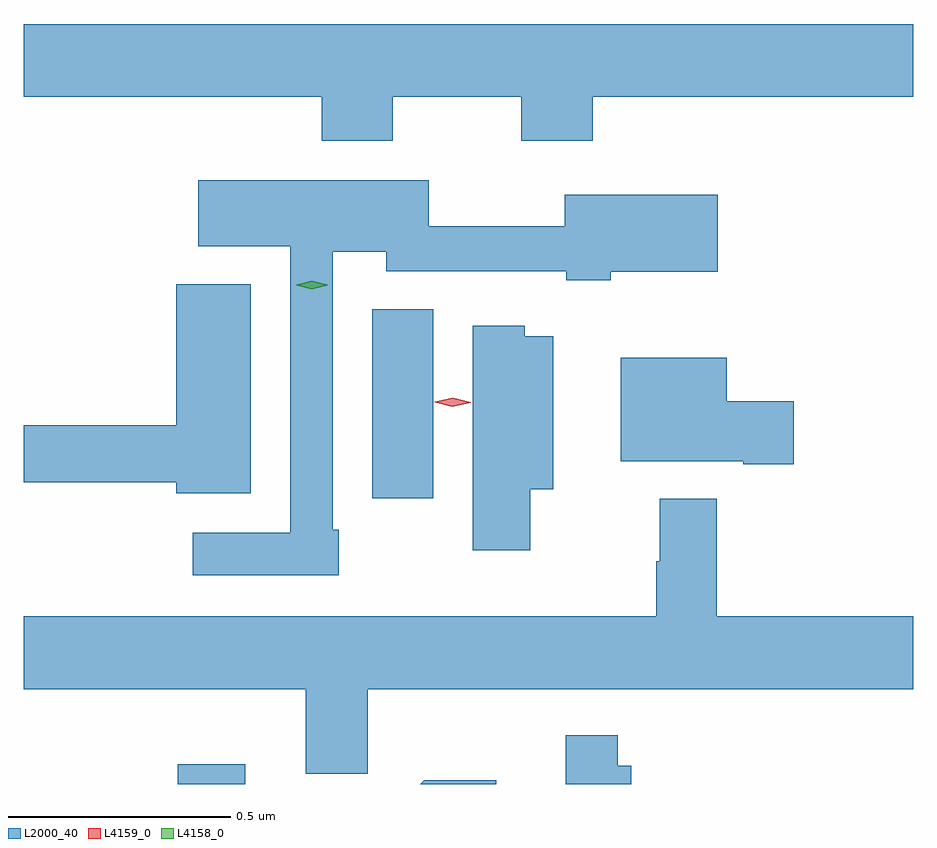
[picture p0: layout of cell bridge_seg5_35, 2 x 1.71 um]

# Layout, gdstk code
import gdstk
lib = gdstk.Library(unit=1e-6, precision=1e-09)
def R(c, l, rs):  # rectangles x0, y0, x1, y1
    for r in rs: c.add(gdstk.rectangle(r[:2], r[2:], *l))
def P(c, l, *ps):  # polygons
    for p in ps: c.add(gdstk.Polygon(p, *l))
L2000_40 = (2000, 40)
L4158_0 = (4158, 0)
L4159_0 = (4159, 0)

bridge_seg5_35 = lib.new_cell('bridge_seg5_35')
R(bridge_seg5_35, L2000_40, [(887.531,841.895,887.683,841.939), (887.969,842.538,888.106,842.963)])
P(bridge_seg5_35, L2000_40, [(888.015,843.44),(888.304,843.44),(888.304,843.341),(888.464,843.341),(888.464,843.44),(889.185,843.44),(889.185,843.604),(887.185,843.604),(887.185,843.44),(887.855,843.44),(887.855,843.341),(888.015,843.341)],
  [(887.893,842.467),(887.88,842.467),(887.88,843.092),(888,843.092),(888,843.048),(888.405,843.048),(888.405,843.028),(888.505,843.028),(888.505,843.047),(888.745,843.047),(888.745,843.22),(888.401,843.22),(888.401,843.149),(888.096,843.149),(888.096,843.253),(887.577,843.253),(887.577,843.104),(887.784,843.104),(887.784,842.46),(887.565,842.46),(887.565,842.364),(887.893,842.364)],
  [(887.695,843.019),(887.528,843.019),(887.528,842.702),(887.185,842.702),(887.185,842.574),(887.528,842.574),(887.528,842.549),(887.695,842.549)],
  [(888.324,842.558),(888.376,842.558),(888.376,842.902),(888.312,842.902),(888.312,842.926),(888.194,842.926),(888.194,842.421),(888.324,842.421)],
  [(888.916,842.756),(888.766,842.756),(888.766,842.854),(888.527,842.854),(888.527,842.621),(888.803,842.621),(888.803,842.614),(888.916,842.614)],
  [(887.958,842.108),(889.185,842.108),(889.185,842.272),(888.743,842.272),(888.743,842.536),(888.615,842.536),(888.615,842.396),(888.607,842.396),(888.607,842.272),(887.185,842.272),(887.185,842.108),(887.819,842.108),(887.819,841.918),(887.958,841.918)],
  [(888.551,841.936),(888.521,841.936),(888.521,842.005),(888.404,842.005),(888.404,841.895),(888.551,841.895)],
  [(888.247,841.903),(888.085,841.903),(888.077,841.895),(888.247,841.895)])
P(bridge_seg5_35, L4158_0, [(887.833,843.007),(887.798,843.017),(887.798,843.017),(887.798,843.018),(887.833,843.027),(887.868,843.018),(887.868,843.017),(887.868,843.017)])
P(bridge_seg5_35, L4159_0, [(888.149,842.743),(888.109,842.753),(888.109,842.754),(888.109,842.754),(888.15,842.763),(888.19,842.753),(888.19,842.753),(888.19,842.752)])

lib.write_gds('bridge_seg5_35.gds')
